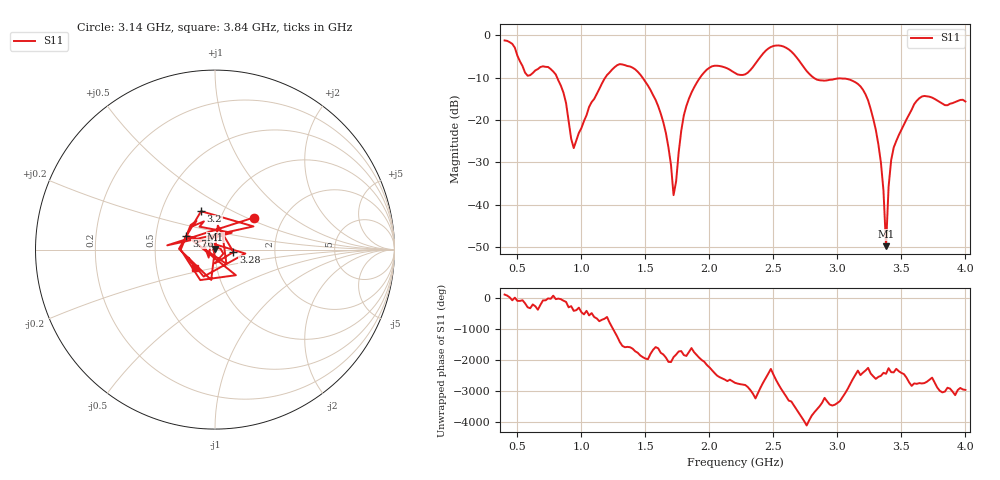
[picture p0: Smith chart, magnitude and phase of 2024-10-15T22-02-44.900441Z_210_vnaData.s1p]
! Created with skrf (http://scikit-rf.org).
# Hz S RI R 50.0
!freq ReS11 ImS11
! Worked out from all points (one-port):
!   181 points, 400 MHz to 4 GHz, reference 50 ohm
!   lowest |S11| = -49.8 dB at 3.38 GHz (marker M1), VSWR 1.01, Z = 50.1 + j0.313 ohm
!   |S11| at or under -10 dB: 810.7 MHz to 1.186 GHz (375.3 MHz wide, 37.6 % of centre); 1.478 GHz to 1.926 GHz (448.2 MHz wide, 26.3 % of centre); 2.815 GHz to end of sweep
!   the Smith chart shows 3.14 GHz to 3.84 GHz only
!   S11 on the Smith chart (normalised r, x): 3.14 GHz: 1.42, +0.55; 3.2 GHz: 0.79, +0.35; 3.28 GHz: 1.23, -0.03; 3.76 GHz: 0.72, +0.12; 3.84 GHz: 0.78, -0.16
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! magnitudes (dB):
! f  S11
! 400 MHz  -1.2
! 580 MHz  -9.5
! 740 MHz  -7.5
! 860 MHz  -13.6
! 940 MHz  -26.6
! 1.3 GHz  -6.8
! 1.58 GHz  -15.3
! 1.66 GHz  -23.0
! 1.72 GHz  -37.7
! 1.76 GHz  -27.6
! 1.82 GHz  -16.7
! 1.92 GHz  -10.3
! 2.2 GHz  -8.9
! 2.5 GHz  -2.5
! 2.66 GHz  -4.4
! 2.84 GHz  -10.5
! 3.1 GHz  -10.5
! 3.14 GHz  -11.1
! 3.2 GHz  -12.9
! 3.28 GHz  -19.7
! 3.34 GHz  -30.0
! 3.38 GHz  -49.8
! 3.4 GHz  -35.7
! 3.42 GHz  -29.5
! 3.56 GHz  -18.7
! 3.76 GHz  -15.0
! 3.84 GHz  -16.5
! 4 GHz  -15.6
